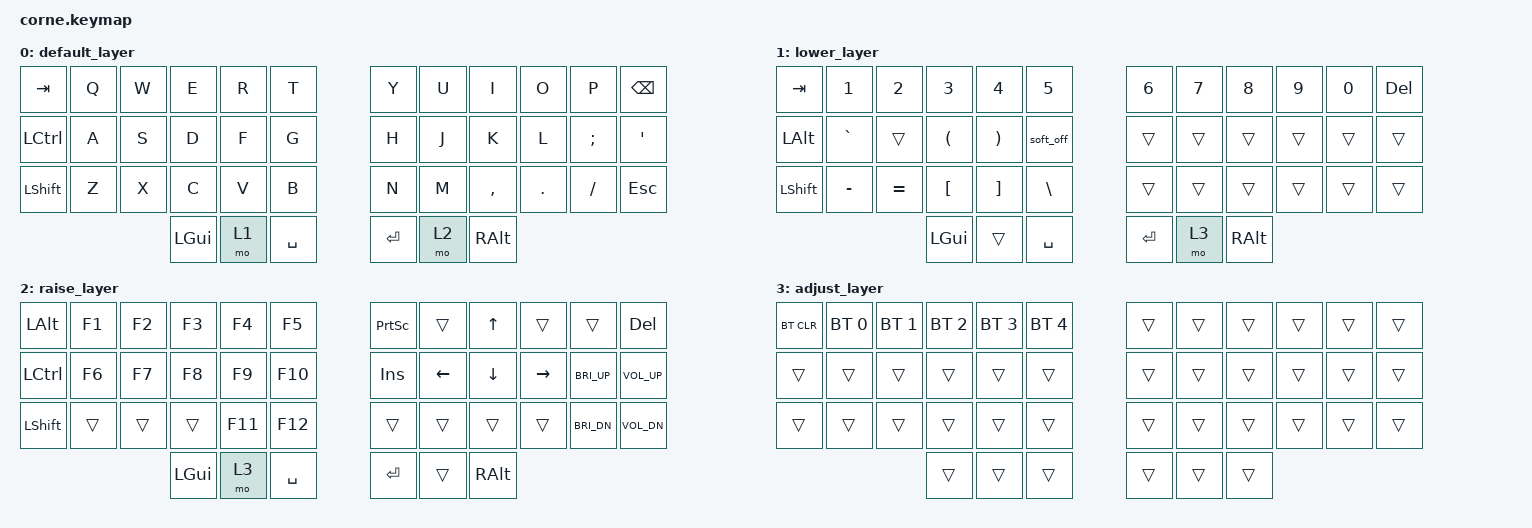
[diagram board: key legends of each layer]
/*
 * Corne Keyboard - ZMK Keymap
 * Wygenerowano na podstawie screenshotów (3 warstwy, 42 klawisze)
 */

#include <behaviors.dtsi>
#include <dt-bindings/zmk/bt.h>
#include <dt-bindings/zmk/keys.h>

&soft_off { hold-time-ms = <3000>; };

/ {
    keymap {
        compatible = "zmk,keymap";

        // ──────────────────────────────────────────────────────────
        // Layer 0 – Base (QWERTY)
        // ──────────────────────────────────────────────────────────

        default_layer {
            bindings = <
&kp TAB    &kp Q  &kp W  &kp E     &kp R  &kp T        &kp Y    &kp U  &kp I      &kp O    &kp P     &kp BSPC
&kp LCTRL  &kp A  &kp S  &kp D     &kp F  &kp G        &kp H    &kp J  &kp K      &kp L    &kp SEMI  &kp SQT
&kp LSHFT  &kp Z  &kp X  &kp C     &kp V  &kp B        &kp N    &kp M  &kp COMMA  &kp DOT  &kp FSLH  &kp ESC
                         &kp LGUI  &mo 1  &kp SPACE    &kp RET  &mo 2  &kp RALT
            >;
        };

        // ──────────────────────────────────────────────────────────
        // Layer 1 – Symbole / Cyfry
        // ──────────────────────────────────────────────────────────

        lower_layer {
            bindings = <
&kp TAB    &kp NUMBER_1  &kp NUMBER_2  &kp NUMBER_3  &kp NUMBER_4  &kp NUMBER_5    &kp NUMBER_6  &kp NUMBER_7  &kp NUMBER_8  &kp NUMBER_9  &kp NUMBER_0  &kp DEL
&kp LALT   &kp GRAVE     &trans        &kp LPAR      &kp RPAR      &soft_off       &trans        &trans        &trans        &trans        &trans        &trans
&kp LSHFT  &kp MINUS     &kp EQUAL     &kp LBKT      &kp RBKT      &kp BSLH        &trans        &trans        &trans        &trans        &trans        &trans
                                       &kp LGUI      &trans        &kp SPACE       &kp RET       &mo 3         &kp RALT
            >;
        };

        // ──────────────────────────────────────────────────────────
        // Layer 2 – F-klawisze / Nawigacja / Media
        // ──────────────────────────────────────────────────────────

        raise_layer {
            bindings = <
&kp LALT   &kp F1  &kp F2  &kp F3    &kp F4   &kp F5       &kp PSCRN  &trans    &kp UP    &trans     &trans        &kp DEL
&kp LCTRL  &kp F6  &kp F7  &kp F8    &kp F9   &kp F10      &kp INS    &kp LEFT  &kp DOWN  &kp RIGHT  &kp C_BRI_UP  &kp C_VOL_UP
&kp LSHFT  &trans  &trans  &trans    &kp F11  &kp F12      &trans     &trans    &trans    &trans     &kp C_BRI_DN  &kp C_VOL_DN
                           &kp LGUI  &mo 3    &kp SPACE    &kp RET    &trans    &kp RALT
            >;
        };

        // ──────────────────────────────────────────────────────────
        // Layer 3 – Bluetooth / System (MO1+MO2 jednocześnie)
        // ──────────────────────────────────────────────────────────

        adjust_layer {
            bindings = <
&bt BT_CLR  &bt BT_SEL 0  &bt BT_SEL 1  &bt BT_SEL 2  &bt BT_SEL 3  &bt BT_SEL 4    &trans  &trans  &trans  &trans  &trans  &trans
&trans      &trans        &trans        &trans        &trans        &trans          &trans  &trans  &trans  &trans  &trans  &trans
&trans      &trans        &trans        &trans        &trans        &trans          &trans  &trans  &trans  &trans  &trans  &trans
                                        &trans        &trans        &trans          &trans  &trans  &trans
            >;
        };
    };
};
